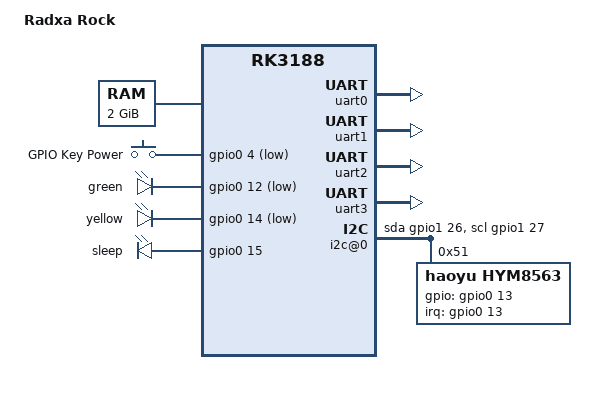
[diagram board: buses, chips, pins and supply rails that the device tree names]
/*
 * Copyright (c) 2013 Heiko Stuebner <heiko@sntech.de>
 *
 * This program is free software; you can redistribute it and/or modify
 * it under the terms of the GNU General Public License as published by
 * the Free Software Foundation; either version 2 of the License, or
 * (at your option) any later version.
 *
 * This program is distributed in the hope that it will be useful,
 * but WITHOUT ANY WARRANTY; without even the implied warranty of
 * MERCHANTABILITY or FITNESS FOR A PARTICULAR PURPOSE.  See the
 * GNU General Public License for more details.
 */

/dts-v1/;
#include "rk3188.dtsi"

/ {
	model = "Radxa Rock";

	memory {
		reg = <0x60000000 0x80000000>;
	};

	soc {
		uart0: serial@10124000 {
			status = "okay";
		};

		uart1: serial@10126000 {
			status = "okay";
		};

		uart2: serial@20064000 {
			pinctrl-names = "default";
			pinctrl-0 = <&uart2_xfer>;
			status = "okay";
		};

		uart3: serial@20068000 {
			status = "okay";
		};

		gpio-keys {
			compatible = "gpio-keys";
			#address-cells = <1>;
			#size-cells = <0>;
			autorepeat;

			button@0 {
				gpios = <&gpio0 4 GPIO_ACTIVE_LOW>;
				linux,code = <116>;
				label = "GPIO Key Power";
				linux,input-type = <1>;
				gpio-key,wakeup = <1>;
				debounce-interval = <100>;
			};
		};

		gpio-leds {
			compatible = "gpio-leds";

			green {
				gpios = <&gpio0 12 GPIO_ACTIVE_LOW>;
				default-state = "off";
			};

			yellow {
				gpios = <&gpio0 14 GPIO_ACTIVE_LOW>;
				default-state = "off";
			};

			sleep {
				gpios = <&gpio0 15 0>;
				default-state = "off";
			};
		};

		i2c@0 {
			compatible = "i2c-gpio";
			gpios = <&gpio1 26 0   /* sda */
				 &gpio1 27 0>; /* scl */
			i2c-gpio,sda-open-drain;
			i2c-gpio,scl-open-drain;
			i2c-gpio,delay-us = <2>;	/* ~100 kHz */
			#address-cells = <1>;
			#size-cells = <0>;

			hym8563@51 {
				compatible = "haoyu,hym8563";
				reg = <0x51>;

				interrupt-parent = <&gpio0>;
				interrupts = <13 IRQ_TYPE_EDGE_FALLING>; /* gpio0_b5 */

				gpios = <&gpio0 13 0>;

				pinctrl-names = "default";
				pinctrl-0 = <&hym8563_int>;
			};
		};

		pinctrl@20008000 {
			hym8563 {
				hym8563_int: hym8563-int {
					rockchip,pins = <RK_GPIO0 0 RK_FUNC_1 &pcfg_pull_up>;
				};
			};
		};
	};
};
